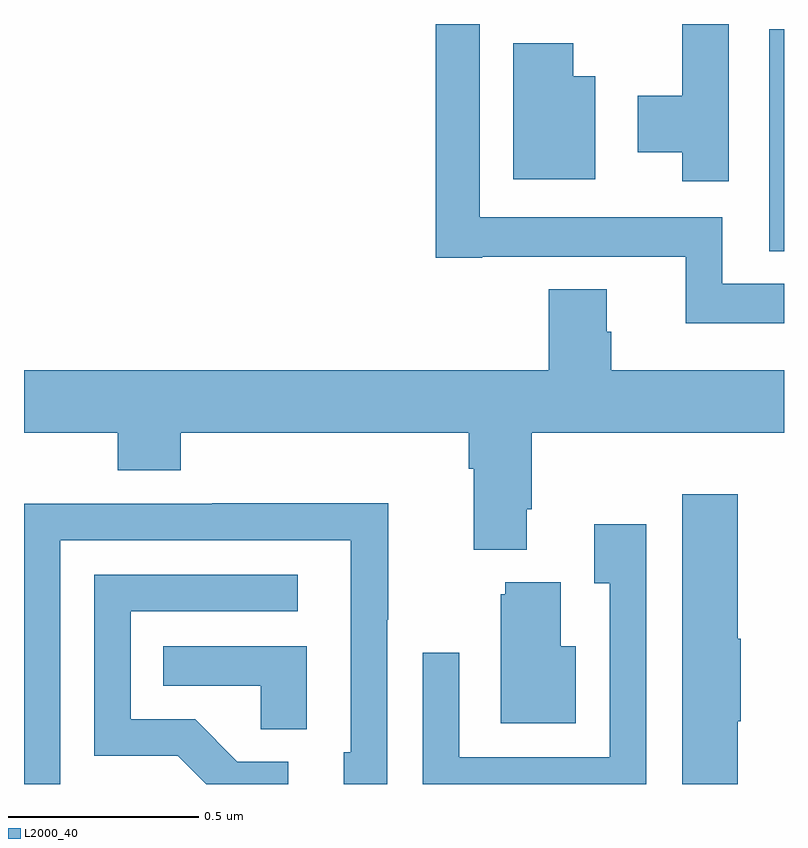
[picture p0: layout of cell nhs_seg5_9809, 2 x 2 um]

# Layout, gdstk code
import gdstk
lib = gdstk.Library(unit=1e-6, precision=1e-09)
def R(c, l, rs):  # rectangles x0, y0, x1, y1
    for r in rs: c.add(gdstk.rectangle(r[:2], r[2:], *l))
def P(c, l, *ps):  # polygons
    for p in ps: c.add(gdstk.Polygon(p, *l))
L2000_40 = (2000, 40)

nhs_seg5_9809 = lib.new_cell('nhs_seg5_9809')
R(nhs_seg5_9809, L2000_40, [(239.961,893.201,240,893.785)])
P(nhs_seg5_9809, L2000_40, [(239.854,893.799),(239.732,893.799),(239.732,893.61),(239.615,893.61),(239.615,893.462),(239.732,893.462),(239.732,893.385),(239.854,893.385)],
  [(240,893.116),(239.838,893.116),(239.838,893.29),(239.199,893.29),(239.199,893.799),(239.083,893.799),(239.083,893.184),(239.206,893.184),(239.206,893.186),(239.741,893.186),(239.741,893.012),(240,893.012)],
  [(239.503,893.662),(239.446,893.662),(239.446,893.749),(239.288,893.749),(239.288,893.39),(239.503,893.39)],
  [(239.323,892.522),(239.336,892.522),(239.336,892.724),(240,892.724),(240,892.888),(239.546,892.888),(239.546,892.989),(239.533,892.989),(239.533,893.101),(239.381,893.101),(239.381,892.888),(238,892.888),(238,892.724),(238.247,892.724),(238.247,892.625),(238.412,892.625),(238.412,892.724),(239.171,892.724),(239.171,892.628),(239.183,892.628),(239.183,892.415),(239.323,892.415)],
  [(239.878,891.964),(239.886,891.964),(239.886,892.181),(239.878,892.181),(239.878,892.561),(239.732,892.561),(239.732,891.799),(239.878,891.799)],
  [(238.095,892.44),(238.86,892.44),(238.86,891.882),(238.841,891.882),(238.841,891.799),(238.956,891.799),(238.956,892.231),(238.959,892.231),(238.959,892.538),(238.495,892.538),(238.495,892.536),(238,892.536),(238,891.799),(238.095,891.799)],
  [(239.637,892.483),(239.501,892.483),(239.501,892.327),(239.541,892.327),(239.541,891.87),(239.145,891.87),(239.145,892.144),(239.049,892.144),(239.049,891.799),(239.637,891.799)],
  [(238.696,891.858),(238.561,891.858),(238.45,891.969),(238.281,891.969),(238.281,892.254),(238.72,892.254),(238.72,892.35),(238.185,892.35),(238.185,891.873),(238.404,891.873),(238.479,891.799),(238.696,891.799)],
  [(239.452,892.162),(239.413,892.162),(239.413,892.33),(239.267,892.33),(239.267,892.299),(239.255,892.299),(239.255,891.959),(239.452,891.959)],
  [(238.744,892.162),(238.366,892.162),(238.366,892.058),(238.623,892.058),(238.623,891.943),(238.744,891.943)])

lib.write_gds('nhs_seg5_9809.gds')
